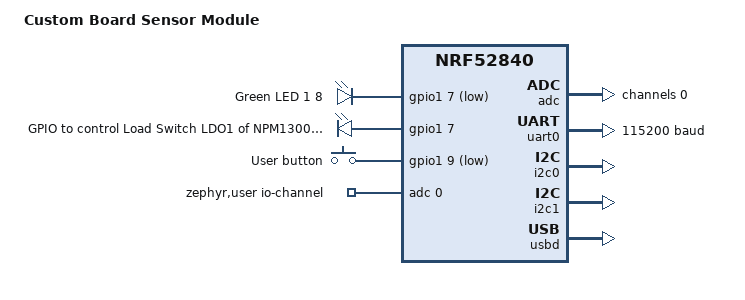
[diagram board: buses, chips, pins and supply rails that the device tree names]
/*
 * Copyright (c) 2024 Reisch Paul
 *
 * SPDX-License-Identifier: Apache-2.0
 */

/dts-v1/;
#include <nordic/nrf52840_qiaa.dtsi>
#include <nordic/nrf52840_partition.dtsi>
#include "sensor_module-pinctrl.dtsi"
#include <zephyr/dt-bindings/input/input-event-codes.h>
#include <dt-bindings/regulator/npm1300.h>

/ {
	model = "Custom Board Sensor Module";
	compatible = "others,sensor-module";
	chosen {
		zephyr,console = &uart0;
		zephyr,shell-uart = &uart0;
		zephyr,uart-mcumgr = &uart0;
		zephyr,bt-mon-uart = &uart0;
		zephyr,bt-c2h-uart = &uart0;
	};

	leds {
		compatible = "gpio-leds";
		led0: led_0 {
			gpios = <&gpio1 7 (GPIO_ACTIVE_LOW)>; //GPIO_ACTIVE_LOW
			label = "Green LED 1 8";
		};
		loadsw1: loadsw_1 {
			gpios = <&gpio1 7 (GPIO_ACTIVE_HIGH | GPIO_PULL_DOWN)>;
			label = "GPIO to control Load Switch LDO1 of NPM1300 (GPIO2)";
		};
		// loadsw2: loadsw_2 {
		// 	gpios = <&gpio0 20 (GPIO_ACTIVE_LOW)>;
		// 	label = "GPIO to test";
		// };
	};
	// magsensor {
	// 	compatible = "gpio-keys";
	// 	button0: button_0 {
	// 		gpios = <&gpio0 15 (GPIO_PULL_UP | GPIO_ACTIVE_LOW)>;
	// 		label = "Mag sensor switch 0";
	// 		zephyr,code = <INPUT_KEY_0>;
	// 	};
	// };
	buttons {
		compatible = "gpio-keys";
		button0: button_0 {
			gpios = < &gpio1 9 (GPIO_PULL_UP | GPIO_ACTIVE_LOW) >;
			label = "User button";
		};
	};



	zephyr,user {
		io-channels = <&adc 0>;
	};
	// loadsw {
	// 	compatible = "gpios-keys";

	// };

	/* These aliases are provided for compatibility with samples */
	aliases {
		led0 = &led0;
		bootloader-led0 = &led0;
		mcuboot-led0 = &led0;
		loadsw1 = &loadsw1;
		//loadsw2 = &loadsw2;
		button0 = &button0;
	};
};


&reg0 {
	status = "disabled";
};

&reg1 {
	// regulator-initial-mode = <NRF5X_REG_MODE_DCDC>;
	status = "disabled";
};


&adc {
	status = "okay";
};

&uicr {
	gpio-as-nreset;
};

&gpiote {
	status = "okay";
};

&gpio0 {
	status = "okay";
};

&gpio1 {
	status = "okay";
};

&uart0 {
	compatible = "nordic,nrf-uarte";
	status = "okay";
	current-speed = <115200>;
	pinctrl-0 = <&uart0_default>;
	pinctrl-1 = <&uart0_sleep>;
	pinctrl-names = "default", "sleep";
};

&i2c0 {
	compatible = "nordic,nrf-twi";
	status = "okay";
	/* Arduino compatible PINs */
	pinctrl-0 = <&i2c0_default>;
	pinctrl-1 = <&i2c0_sleep>;
	pinctrl-names = "default", "sleep";
};

&i2c1 {
	compatible = "nordic,nrf-twi";
	status = "disabled";
	/* Arduino compatible PINs */
	pinctrl-0 = <&i2c1_default>;
	pinctrl-1 = <&i2c1_sleep>;
	pinctrl-names = "default", "sleep";
};

zephyr_udc0: &usbd {
	compatible = "nordic,nrf-usbd";
	status = "okay";
	usb_cdc_acm_uart: cdc-acm-uart {
		compatible = "zephyr,cdc-acm-uart";
	};
};


&adc {
	#address-cells = <1>;
	#size-cells = <0>;

	channel@0 {
		reg = <0>;
		zephyr,gain = "ADC_GAIN_1_6";
		zephyr,reference = "ADC_REF_INTERNAL";
		zephyr,acquisition-time = <ADC_ACQ_TIME_DEFAULT>;
		zephyr,input-positive = <NRF_SAADC_AIN0>; 
		zephyr,resolution = <12>;
	};

};


// NPM1300

arduino_i2c: &i2c1 {
	compatible = "nordic,nrf-twi";
	status = "okay";
	pinctrl-0 = <&i2c1_default>;
	pinctrl-1 = <&i2c1_sleep>;
	pinctrl-names = "default", "sleep";
};

&arduino_i2c {
	npm1300_ek_pmic: pmic@6b {
		compatible = "nordic,npm1300";
		reg = <0x6b>;

		npm1300_ek_gpio: gpio-controller {
			compatible = "nordic,npm1300-gpio";
			gpio-controller;
			#gpio-cells = <2>;
			ngpios = <5>;
		};

		npm1300_ek_regulators: regulators {
			compatible = "nordic,npm1300-regulator";

			/* limits are set to min/max allowed values */
			npm1300_ek_buck1: BUCK1 {
				regulator-min-microvolt = <1000000>;
				regulator-max-microvolt = <3300000>;
			};

			npm1300_ek_buck2: BUCK2 {
				regulator-min-microvolt = <1000000>;
				regulator-max-microvolt = <3300000>;
			};

			npm1300_ek_ldo1: LDO1 {
				regulator-min-microvolt = <1000000>;
				regulator-max-microvolt = <3300000>;
			};

			npm1300_ek_ldo2: LDO2 {
				regulator-min-microvolt = <1000000>;
				regulator-max-microvolt = <3300000>;
			};
		};

		npm1300_ek_charger: charger {
			compatible = "nordic,npm1300-charger";
			term-microvolt = <4180000>;
			term-warm-microvolt = <4000000>;
			current-microamp = <200000>;
			dischg-limit-microamp = <1000000>;
			vbus-limit-microamp = <500000>;
			thermistor-ohms = <0>;
			thermistor-beta = <3380>;
			charging-enable;
			vbatlow-charge-enable;
		};

		npm1300_ek_buttons: buttons {
			compatible = "gpio-keys";
			pmic_button0: pmic_button_0 {
				gpios = < &npm1300_ek_gpio 0 GPIO_ACTIVE_HIGH>;
				label = "Pmic button switch 0";
			zephyr,code = <INPUT_KEY_0>;
			};
		};

		npm1300_ek_leds: leds {
			compatible = "nordic,npm1300-led";
			nordic,led0-mode = "error";
			nordic,led1-mode = "charging";
			nordic,led2-mode = "host";
		};
	};
};




&npm1300_ek_regulators {
	dvs-gpios = <&gpio0 16 GPIO_ACTIVE_LOW>,
		    	<&gpio1 7 GPIO_ACTIVE_LOW>;
};

&npm1300_ek_buck1 {
	regulator-init-microvolt = <2500000>;
	// regulator-boot-off;
};

&npm1300_ek_buck2 {
	regulator-boot-off;
};

&npm1300_ek_ldo1 {
	//regulator-boot-on;
	regulator-initial-mode = <NPM1300_LDSW_MODE_LDSW>;
	enable-gpios = <&npm1300_ek_gpio 2 GPIO_ACTIVE_LOW>;
};

&npm1300_ek_ldo2 {
	regulator-boot-off;
};

&npm1300_ek_pmic {
	host-int-gpios = <&gpio0 15 0>;
	pmic-int-pin = <1>;
};



// &i2c0 {
// 	status = "okay";
// 	clock-frequency = <I2C_BITRATE_FAST>;
// 	sht4x@44 {
// 		status = "okay";
// 		compatible = "sensirion,sht4x";
// 		reg = <0x44>;
// 		repeatability = <2>;
// 		//zephyr,deferred-init;
// 	};
// };
